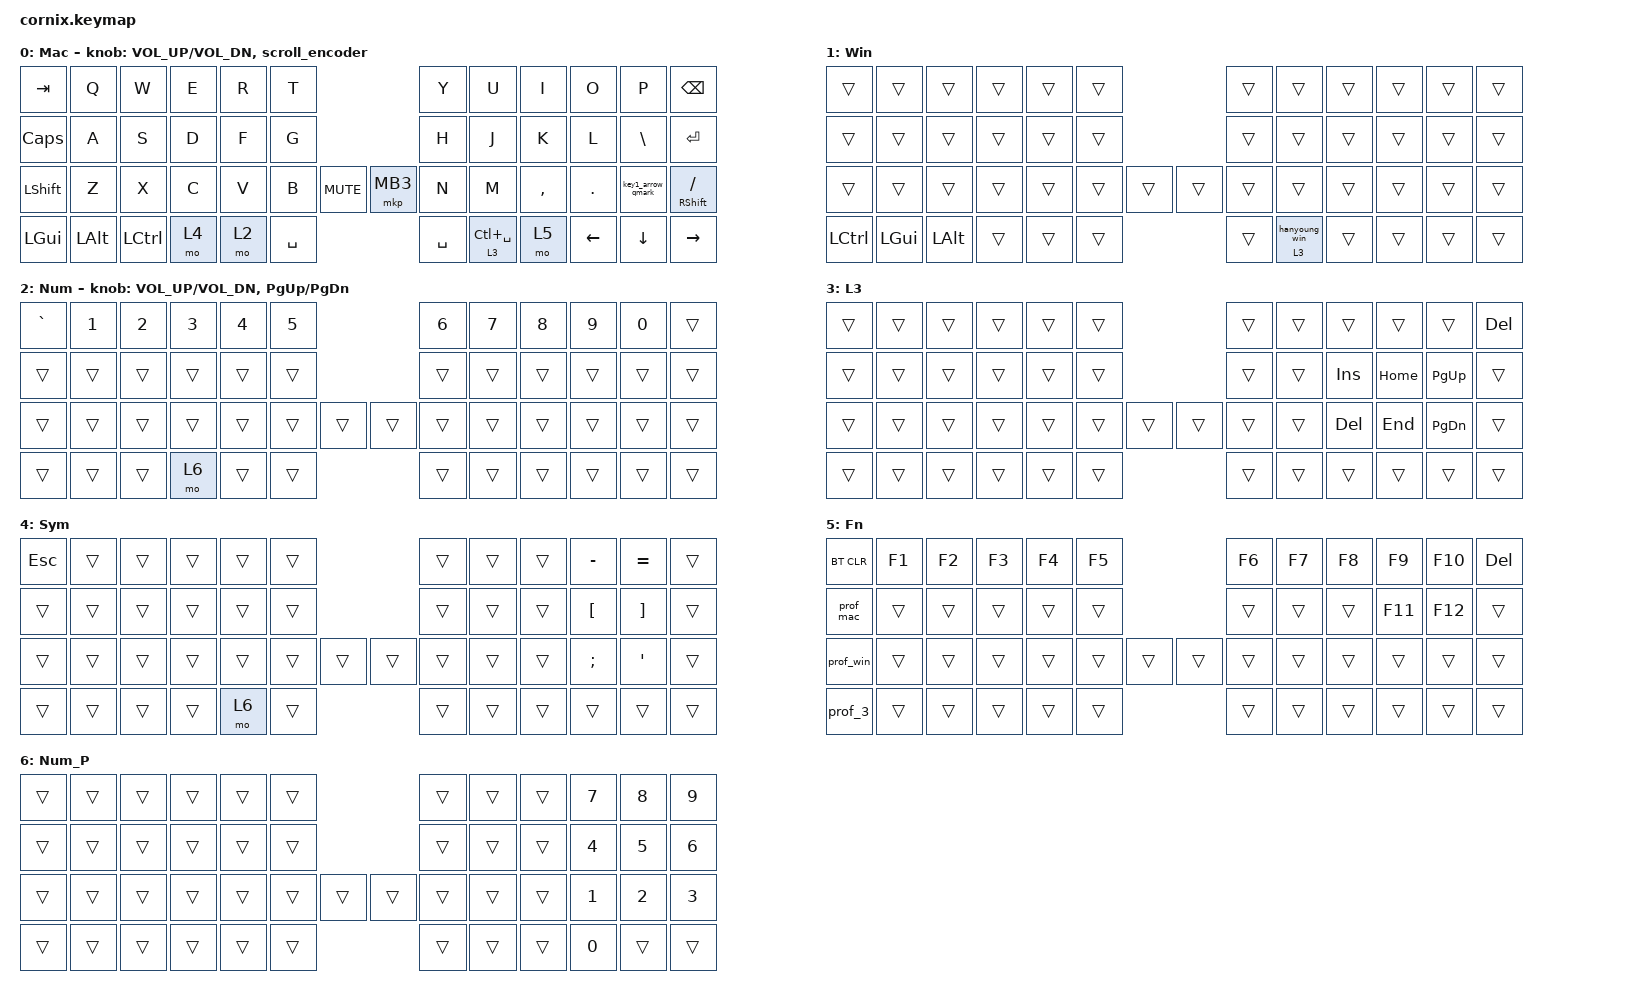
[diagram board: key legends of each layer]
/*
 * Copyright (c) 2020 The ZMK Contributors
 *
 * SPDX-License-Identifier: MIT
 */
// NOTE(2026-08-22): 이전에 있던 urob 스타일 홈로우모드 커스텀 설정은 폐기하고, 실제 RMK로 쓰던
// 키보드를 그대로 이식한 상태로 새로 시작함. 원래 커스텀 파일은 backup/cornix.keymap.urob-homerowmods-20260822에,
// ZMK 저장소 자체 예시 기본값은 backup/cornix.keymap.zmk-community-stock-example에 보존해둠(참고용).
// 실측 근거: raw/keyboard/work/실측-RMK실제레이아웃-vial스크린샷-20260822.md (Vial 스크린샷 판독)
//
// 확인된 것만 이식함:
//   - Layer 0(Base): 실제 RMK 그대로. 유일하게 스톡과 다른 지점은 우측 하단열의 Up(원래 / 자리) — 의도적 커스텀.
//   - Layer 1: 상단열(Esc+숫자기호)만 확인됨, 나머지 행은 실기기에서 비어있어서 &trans로 둠.
//   - Layer 2/3/4: BT 프로필 선택(공장 기본값, 사용자 확인함) — 왼손 상단열에 BT_SEL 0/1/2, 나머지 &trans.
//   - 키1(화살표/물음표): mod-morph로 구현 — 아래 behaviors 참고.
//   - 키2(슬래시/우쉬프트): 우하단 팜 Right(화살표) 바로 위, 원래 RShift였던 자리를 mod-tap으로 재활용 —
//     탭=`/`, 홀드=RSFT. ZMK 내장 &mt 그대로 사용(커스텀 behavior 불필요).

#include <dt-bindings/zmk/modifiers.h>
#include <behaviors.dtsi>
#include <dt-bindings/zmk/bt.h>
#include <dt-bindings/zmk/keys.h>
#include <dt-bindings/zmk/pointing.h>

// NOTE(2026-09-05): stock &lt는 flavor="tap-preferred"라 홀드로 인정받으려면 200ms를 꽉
// 채워야 함(다른 키를 먼저 눌러도 탭으로 처리됨). &mt와 정의가 완전히 같고 flavor 한 줄만
// 다르므로, 커스텀 hold-tap을 새로 만들지 않고 stock 노드의 프로퍼티만 덮어씀. 이렇게 하면
// 키맵에는 그냥 `&lt`로 남아서 키맵에디터도 표준 behavior로 정상 인식함.
// 한영 치고 바로 다음 글자를 때렸을 때 홀드로 오인되면 "balanced"로 바꿀 것.

&lt { flavor = "hold-preferred"; };

/ {
    behaviors {
        // 키1: 탭=Up(화살표), 우쉬프트(키2 홀드)+탭='?', 좌쉬프트+탭=조건 불일치라 그냥 Shift+Up 통과(드래그/선택)
        // NOTE(2026-08-22 정정): 처음엔 좌쉬프트를 '?' 트리거로 넣었으나 실사용해보니 반대였음 — 우쉬프트로 수정.

        key1_arrow_qmark: key1_arrow_qmark {
            compatible = "zmk,behavior-mod-morph";
            #binding-cells = <0>;
            bindings = <&kp UP>, <&kp QUESTION>;

            mods = <(MOD_RSFT)>;
        };

        // NOTE(2026-08-22): &msc는 sensor-bindings(인코더)에 직접 못 씀 — #sensor-binding-cells가
        // 없어서 "lacks #sensor-binding-cells" devicetree 에러로 빌드가 깨짐(실사용 확인). 공식 문서의
        // zmk,behavior-sensor-rotate 패턴으로 감싸야 함.
        // NOTE(2026-08-22 추가): 빌드는 됐는데 스크롤이 전혀 안 먹는 문제 발생 — 실제 소스
        // (behavior_input_two_axis.c, behavior_sensor_rotate_common.c) 확인 결과, sensor-rotate
        // 기본 tap_ms=5가 msc의 trigger_period_ms=16보다 짧아서 첫 HID 리포트가 예약되기 전에
        // release로 취소되어 아예 안 나가는 게 원인. tap-ms를 16ms보다 길게 줘서 1차 수정.
        // NOTE(2026-08-22 추가 — tap-ms만으론 여전히 안 먹음): update_movement_1d/track_remainder
        // 계산까지 추적 — 기본 SCRL_UP(=10) 기준 tick 1회(16ms)당 이동량은 10*16/1000=0.16, 정수
        // 캐스팅되면서 0으로 버려짐. 여러 tick이 누적(약 7회=112ms)돼야 정수 1이 나오는 구조라
        // 인코더 한 틱(짧은 tap)으론 값 자체가 안 쌓임. MOVE_Y()로 세기를 100까지 올려서
        // tick 1회 만에도 정수 이동량(1.6→1)이 나오게 함.

        scroll_encoder: scroll_encoder {
            compatible = "zmk,behavior-sensor-rotate";
            #sensor-binding-cells = <0>;

            // NOTE(2026-08-22 감도 조정): 100→70. tick당 이동량 70*16/1000=1.12로, "정수 캐스팅에서
            // 0으로 버려지는" 최소선(62.5) 위 여유 두면서 세기는 낮춤. 더 낮추고 싶으면 62 밑으로는
            // 내려가지 말 것(다시 안 먹는 문제 재발).

            bindings = <&msc MOVE_Y(-70)>, <&msc MOVE_Y(70)>;

            tap-ms = <40>;
        };

        // NOTE(2026-09-05): Win 레이어 한/영 자리 전용 hold-tap.
        // stock &lt를 못 쓰는 이유: &lt의 탭 절반은 <&kp>라 키코드만 받는데, 여기선 탭에
        // 매크로(LANG1 + F24 두 개 송신)를 물려야 함. hold-tap은 tap 바인딩에 param2를
        // 그대로 넘길 뿐이고 zmk_behavior_invoke_binding이 #binding-cells를 검증하지
        // 않으므로(behavior.c:67), 0-cell 매크로를 물리고 더미 파라미터 0을 주면 됨.
        // flavor는 stock &lt(tap-preferred) 대신 &mt와 같은 hold-preferred.

        lt_hanyoung: lt_hanyoung {
            compatible = "zmk,behavior-hold-tap";
            #binding-cells = <2>;
            flavor = "hold-preferred";
            tapping-term-ms = <200>;
            bindings = <&mo>, <&hanyoung_win>;
            display-name = "Layer-Tap 한영";
        };
    };

    // NOTE(2026-09-05): OS별 프로필 전환. `&bt BT_SEL n`은 현재 엔드포인트가 USB인지 확인하지
    // 않고 BLE 프로필 포인터만 바꾸므로(zmk_ble_prof_select), 유선 상태에서는 사실상 무시되고
    // `&to`만 실행됨 - 즉 유선/무선 구분 없이 같은 키로 레이어가 전환됨.
    // #binding-cells = <0> + display-name 이라 키맵에디터 키 목록에도 그대로 뜸.

    macros {
        prof_mac: prof_mac {
            compatible = "zmk,behavior-macro";
            #binding-cells = <0>;
            display-name = "Mac";
            bindings = <&bt BT_SEL 0 &to 0>;
        };

        prof_win: prof_win {
            compatible = "zmk,behavior-macro";
            #binding-cells = <0>;
            display-name = "Win";
            bindings = <&bt BT_SEL 1 &to 1>;
        };

        // NOTE(2026-09-05): 윈도우 한/영 + Deskflow 경유 맥 한/영을 한 번에.
        // LANG1은 윈도우 IME를 바꾸고, F24는 Deskflow가 RegisterHotKey로 가로채서
        // 맥에 Alt+Space를 쏜다(config: keystroke(F24) = keyDown/keyUp(Alt+Space,hshomac)).
        // F24를 쓰는 이유: 핫키는 OS 전역 등록이라 트리거 키를 소비하는데, 안 쓰는 키를
        // 트리거로 삼으면 잃을 게 없다. 한/영 키를 직접 트리거로 걸면 윈도우 IME까지
        // 키가 안 가서 윈도우에서 한글을 못 치게 된다.
        // 부수 효과로 양쪽 OS의 IME 상태가 같이 뒤집혀 동기화가 유지된다.

        hanyoung_win: hanyoung_win {
            compatible = "zmk,behavior-macro";
            #binding-cells = <0>;
            display-name = "한영+F24";
            bindings = <&kp LANG1>, <&kp F24>;
        };

        prof_3: prof_3 {
            compatible = "zmk,behavior-macro";
            #binding-cells = <0>;
            display-name = "Prof3";
            bindings = <&bt BT_SEL 2 &to 0>;
        };
    };

    keymap {
        compatible = "zmk,keymap";

        // NOTE(2026-09-05): 레이어 번호 재배치. 윈도우 오버레이(구 6번)를 1번으로 내림.
        // ZMK는 "활성 레이어 중 인덱스가 가장 높은 것"이 이기므로(공식 문서 keymaps/index.mdx),
        // OS 오버레이를 최상위에 두면 그 레이어가 정의한 자리를 아래 momentary 레이어들이
        // 영영 못 씀. 공식 문서도 "베이스 레이어가 여러 개면 가능한 한 낮은 번호를 쓰라"고
        // 명시함. 그래서 Win=1로 내리고 나머지를 한 칸씩 밀었음.
        //   0=Mac  1=Win  2=Num  3=L3(예비)  4=Sym  5=Fn  6=Num_P

        default_layer {
            display-name = "Mac";

            // ------------------------------------------------------------------------------------------------
            // | Tab      | Q | W | X | E | T |               | Y | U | I  | O    | P     | Bkspc |
            // | CapsLock | A | S | D | F | G |               | H | J | K  | L    | \|\   | Enter |
            // | LShift   | Z | X | C | V | B | Mute | Mouse3 | N | M | ,  | .    | 키1(*) | 키2(**)|
            // | LGui | LAlt | LCtrl | MO(4) | MO(2) | Space | | Space | LT(3) | MO(5) | Left | Down | Right |
            // (*)  키1 = mod-morph, 탭=Up 화살표(원래 `/` 자리), 우쉬프트(키2 홀드)+탭=`?`
            // (**) 키2 = mod-tap(&mt), 탭=`/`, 홀드=RShift(원래 RShift 단독키였던 자리)
            // NOTE(2026-09-05): 좌하단 3개는 Cmd/Opt/Ctrl 순서 — 맥 정품(Ctrl/Opt/Cmd)이 아니라
            // 단축키 모디파이어(Cmd)를 윈도우의 Ctrl 자리(맨 왼쪽)로 맞춘 배열. Cmd+Opt 조합이
            // 붙어 있어서 ⌘⌥Esc/⌘⌥I 같은 맥 기본 조합도 손가락이 굴러감.
            // 우엄지 LT(3) = 탭이면 맥 한/영(Ctrl+Space), 홀드면 레이어3.
            // NOTE(2026-08-25): 오버레이 앱용 레이어 마커는 더 이상 커스텀 비헤이비어가 아니라
            // src/behavior_traceable_mo.c의 전역 이벤트 리스너(zmk_layer_state_changed 구독)가
            // 처리함 - 여기 bindings는 그냥 stock &mo 그대로라 키맵에디터에서도 정상 인식됨.

            bindings = <
&kp TAB    &kp Q     &kp W      &kp E  &kp R  &kp T                            &kp Y      &kp U            &kp I      &kp O     &kp P              &kp BSPC
&kp CAPS   &kp A     &kp S      &kp D  &kp F  &kp G                            &kp H      &kp J            &kp K      &kp L     &kp BSLH           &kp RET
&kp LSHFT  &kp Z     &kp X      &kp C  &kp V  &kp B      &kp C_MUTE  &mkp MB3  &kp N      &kp M            &kp COMMA  &kp DOT   &key1_arrow_qmark  &mt RSHFT FSLH
&kp LGUI   &kp LALT  &kp LCTRL  &mo 4  &mo 2  &kp SPACE                        &kp SPACE  &lt 3 LC(SPACE)  &mo 5      &kp LEFT  &kp DOWN           &kp RIGHT
            >;

            sensor-bindings =
                <&inc_dec_kp C_VOL_UP C_VOL_DN>,
                <&scroll_encoder>;
        };

        layer_1_win {
            display-name = "Win";

            // 윈도우 오버레이. `&prof_win`(레이어5 Fn)이 `&to 1`로 켜고, `&prof_mac`이 `&to 0`으로 끔.
            // Base 바로 위(가장 낮은 오버레이)라 위의 momentary 레이어들이 전부 이 레이어를 이김 -
            // 즉 Num/Sym/Fn/Num_P가 윈도우 상태에서도 그대로 다 동작함.
            // 좌하단 3개 = 윈도우 배열(Ctrl/Win/Alt), 우엄지 = 윈도우 한/영(LANG1).
            // 딥슬립(ZMK_SLEEP)을 안 켜뒀으므로 리셋 전까지 이 상태가 유지됨.

            bindings = <
&trans     &trans    &trans    &trans  &trans  &trans                  &trans  &trans       &trans  &trans  &trans  &trans
&trans     &trans    &trans    &trans  &trans  &trans                  &trans  &trans       &trans  &trans  &trans  &trans
&trans     &trans    &trans    &trans  &trans  &trans  &trans  &trans  &trans  &trans       &trans  &trans  &trans  &trans
&kp LCTRL  &kp LGUI  &kp LALT  &trans  &trans  &trans                  &trans  &lt_hanyoung 3 0  &trans  &trans  &trans  &trans
            >;
        };

        layer_2_num {
            display-name = "Num";

            // 실기기 Layer 1 — 상단열만 확인됨(Esc + 숫자), 나머지는 비어있어서 &trans
            // NOTE(2026-08-22 정정): 키캡 표기 `!1`은 "탭=1, 쉬프트+탭=!"라는 뜻인데 처음엔 반대로
            // 심볼(EXCL 등)을 탭 기본값으로 넣는 실수를 함 — 순수 숫자로 정정. 쉬프트는 그냥 눌리는 대로
            // 정상 작동하니 별도 처리 불필요(레이어랑 쉬프트는 서로 안 막음).
            // NOTE(2026-09-05): 하단열 Sym 자리에 &mo 6 — 수동 tri-layer. Num 잡고 옆(Sym) 자리를
            // 누르면 Num_P(넘패드). conditional_layers 대신 이렇게 한 이유는 키맵에디터가
            // `keymap` 노드 안만 읽어서, 특수 노드로 빼면 에디터에서 안 보이기 때문.

            bindings = <
&kp GRAVE  &kp N1  &kp N2  &kp N3  &kp N4  &kp N5                  &kp N6  &kp N7  &kp N8  &kp N9  &kp N0  &trans
&trans     &trans  &trans  &trans  &trans  &trans                  &trans  &trans  &trans  &trans  &trans  &trans
&trans     &trans  &trans  &trans  &trans  &trans  &trans  &trans  &trans  &trans  &trans  &trans  &trans  &trans
&trans     &trans  &trans  &mo 6   &trans  &trans                  &trans  &trans  &trans  &trans  &trans  &trans
            >;

            sensor-bindings = <&inc_dec_kp C_VOL_UP C_VOL_DN &inc_dec_kp PG_UP PG_DN>;
        };

        layer_3 {
            display-name = "L3";

            // 예비 레이어. 우엄지 LT(3) 홀드로 들어옴. 아직 내용 미정.

            bindings = <
&trans  &trans  &trans  &trans  &trans  &trans                  &trans  &trans  &trans      &trans    &trans         &kp DELETE
&trans  &trans  &trans  &trans  &trans  &trans                  &trans  &trans  &kp INSERT  &kp HOME  &kp PAGE_UP    &trans
&trans  &trans  &trans  &trans  &trans  &trans  &trans  &trans  &trans  &trans  &kp DELETE  &kp END   &kp PAGE_DOWN  &trans
&trans  &trans  &trans  &trans  &trans  &trans                  &trans  &trans  &trans      &trans    &trans         &trans
            >;
        };

        layer_4_sym {
            display-name = "Sym";

            // NOTE(2026-09-05): 하단열 Num 자리에 &mo 6 — tri-layer 반대 방향(Sym 잡고 Num 누르기).

            bindings = <
&kp ESC  &trans  &trans  &trans  &trans  &trans                  &trans  &trans  &trans  &kp MINUS      &kp EQUAL  &trans
&trans   &trans  &trans  &trans  &trans  &trans                  &trans  &trans  &trans  &kp LBKT       &kp RBKT   &trans
&trans   &trans  &trans  &trans  &trans  &trans  &trans  &trans  &trans  &trans  &trans  &kp SEMICOLON  &kp SQT    &trans
&trans   &trans  &trans  &trans  &mo 6   &trans                  &trans  &trans  &trans  &trans         &trans     &trans
            >;
        };

        layer_5_fn {
            display-name = "Fn";

            // 좌측 세로줄 = BT 초기화 + OS 프로필 매크로(macros 노드 참고).
            // 레이어 5라 윈도우 오버레이(1)보다 위에 있어서, 윈도우 상태에서도 하단열 자리가
            // 안 가려짐 - 어느 OS에서든 프로필 3개 다 누를 수 있음.

            bindings = <
&bt BT_CLR  &kp F1  &kp F2  &kp F3  &kp F4  &kp F5                  &kp F6  &kp F7  &kp F8  &kp F9   &kp F10  &kp DELETE
&prof_mac   &trans  &trans  &trans  &trans  &trans                  &trans  &trans  &trans  &kp F11  &kp F12  &trans
&prof_win   &trans  &trans  &trans  &trans  &trans  &trans  &trans  &trans  &trans  &trans  &trans   &trans   &trans
&prof_3  &trans  &trans  &trans  &trans  &trans                  &trans  &trans         &trans  &trans  &trans  &trans
            >;
        };

        layer_6_numpad {
            display-name = "Num_P";

            // Num + Sym 동시(수동 tri-layer)로 들어옴.

            bindings = <
&trans  &trans  &trans  &trans  &trans  &trans                  &trans  &trans  &trans  &kp N7  &kp N8  &kp N9
&trans  &trans  &trans  &trans  &trans  &trans                  &trans  &trans  &trans  &kp N4  &kp N5  &kp N6
&trans  &trans  &trans  &trans  &trans  &trans  &trans  &trans  &trans  &trans  &trans  &kp N1  &kp N2  &kp N3
&trans  &trans  &trans  &trans  &trans  &trans                  &trans  &trans  &trans  &kp N0  &trans  &trans
            >;
        };
    };
};
